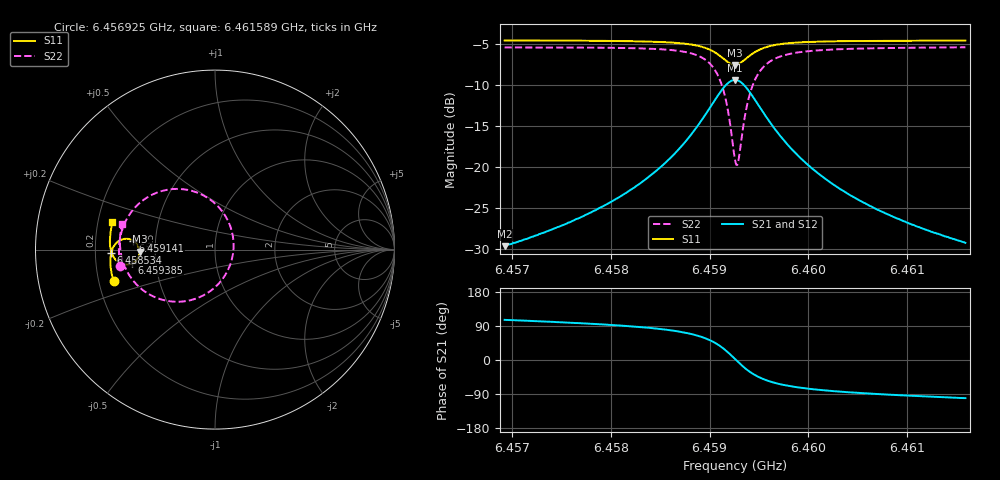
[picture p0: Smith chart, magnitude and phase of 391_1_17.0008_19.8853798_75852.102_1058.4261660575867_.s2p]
#  HZ  S  RI  R  50.00
! Rohde & Schwarz Vector Network Analyzer
! Rohde-Schwarz,ZNB20-2Port,1311601062101988,3.16
! Created: UTC 3/20/2024, 11:09:38 PM
! freq[Hz]  re:S11  im:S11  re:S21  im:S21  re:S12  im:S12  re:S22  im:S22
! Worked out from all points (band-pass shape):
!   401 points, 6.456925 GHz to 6.461589 GHz, reference 50 ohm
!   highest |S21| = -9.37 dB at 6.459257 GHz (marker M1); lowest = -29.6 dB at 6.456925 GHz (marker M2)
!   |S21| within 3 dB of the highest: 6.459024 GHz to 6.459491 GHz (466.4 kHz wide, 0.00722 % of centre)
!   lowest |S11| = -7.5 dB at 6.459257 GHz (marker M3), VSWR 2.45, Z = 20.4 - j0.557 ohm
!   |S11| at or under -10 dB: nowhere
!   |S22| runs from -19.7 to -5.4 dB; largest |S21 - S12| = 0.013
!   S11 on the Smith chart (normalised r, x): 6.456925 GHz: 0.26, -0.14; 6.458534 GHz: 0.27, -0.01; 6.459141 GHz: 0.37, +0.05; 6.459385 GHz: 0.36, -0.07; 6.461589 GHz: 0.26, +0.12
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6.4569253e9  -0.5655 -0.1762  -0.00906 0.0317  -0.00741 0.0318  -0.5291 -0.0892
6.4577065e9  -0.5801 -0.1082  -0.00585 0.0495  -0.00337 0.049  -0.5356 0.000916
6.4581262e9  -0.5833 -0.0665  -0.000361 0.0681  0.00267 0.0668  -0.5287 0.0661
6.4584876e9  -0.5799 -0.024  0.0133 0.0972  0.0172 0.0946  -0.5039 0.1454
6.4585343e9  -0.5785 -0.0176  0.0166 0.1026  0.0208 0.0998  -0.4976 0.1586
6.4587558e9  -0.5654 0.0161  0.0444 0.1361  0.0486 0.1313  -0.4457 0.2343
6.4589074e9  -0.5432 0.0425  0.0889 0.1664  0.0922 0.1598  -0.364 0.2987
6.4590473e9  -0.5001 0.0603  0.1746 0.1831  0.1757 0.1759  -0.2077 0.3382
6.4591406e9  -0.4561 0.0505  0.2634 0.153  0.2636 0.147  -0.0434 0.29
6.4591872e9  -0.4353 0.032  0.3065 0.1108  0.3077 0.1056  0.0386 0.2154
6.4592571e9  -0.4204 -0.0112  0.3398 0.0155  0.3433 0.00877  0.1034 0.0392
6.4592805e9  -0.4221 -0.027  0.3379 -0.0192  0.3416 -0.0274  0.0998 -0.0267
6.4592921e9  -0.4243 -0.0346  0.3344 -0.0361  0.3381 -0.045  0.0928 -0.0586
6.4593388e9  -0.4398 -0.0603  0.3066 -0.0952  0.3087 -0.1068  0.0371 -0.1702
6.4593854e9  -0.4613 -0.0763  0.2653 -0.1357  0.2645 -0.1487  -0.046 -0.2444
6.4594787e9  -0.504 -0.0829  0.182 -0.1669  0.176 -0.1782  -0.2116 -0.2907
6.4596302e9  -0.5474 -0.0625  0.0954 -0.1538  0.0871 -0.1598  -0.3767 -0.243
6.4597935e9  -0.5684 -0.035  0.0511 -0.1264  0.0437 -0.1292  -0.4563 -0.1724
6.4600383e9  -0.5812 0.000682  0.0224 -0.0957  0.0165 -0.0963  -0.5041 -0.0913
6.4603881e9  -0.5857 0.0418  0.0063 -0.0692  0.00241 -0.0688  -0.5255 -0.0129
6.4608195e9  -0.5835 0.0848  -0.00128 -0.0511  -0.0041 -0.0502  -0.5297 0.0551
6.4615889e9  -0.5711 0.1528  -0.00633 -0.034  -0.00809 -0.0331  -0.5184 0.1448
